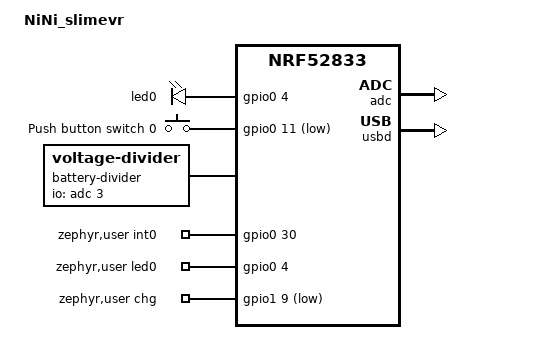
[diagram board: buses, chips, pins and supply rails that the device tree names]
// Copyright (c) 2024 Nordic Semiconductor ASA
// SPDX-License-Identifier: Apache-2.0

/dts-v1/;
#include <nordic/nrf52833_qdaa.dtsi>

//move to dtsi?

&pinctrl {
	spi3_default: spi3_default {
		group1 {
			psels = <NRF_PSEL(SPIM_MISO, 0, 29)>,
					<NRF_PSEL(SPIM_MOSI, 0, 28)>,
					<NRF_PSEL(SPIM_SCK, 0, 2)>;
		};
	};

	spi3_sleep: spi3_sleep {
		group1 {
			psels = <NRF_PSEL(SPIM_MISO, 0, 29)>,
					<NRF_PSEL(SPIM_MOSI, 0, 28)>,
					<NRF_PSEL(SPIM_SCK, 0, 2)>;
			low-power-enable;
		};
	};
};
//end

/ {
	model = "NiNi_slimevr";
	compatible = "NiNi_slimevr";

	chosen {
		zephyr,sram = &sram0;
		zephyr,flash = &flash0;
		zephyr,console = &cdc_acm_uart0;
		zephyr,shell-uart = &cdc_acm_uart0;
	};


	leds {
		compatible = "gpio-leds";
		led0: led_0 {
			gpios = <&gpio0 4 GPIO_OPEN_SOURCE>;
		};
	};

	buttons {
		compatible = "gpio-keys";
		button0: button_0 {
			gpios = <&gpio0 11 (GPIO_PULL_UP | GPIO_ACTIVE_LOW)>;
			label = "Push button switch 0";
		};
	};

	aliases {
		sw0 = &button0;
		led0 = &led0;
	};

	battery-divider {
		compatible = "voltage-divider";
		status = "okay";
		io-channels = <&adc 3>;
		output-ohms = <40200>;
		full-ohms = <(100000+40200)>;
	};

	zephyr,user {
		int0-gpios = <&gpio0 30 0>;
		led0-gpios = <&gpio0 4 GPIO_ACTIVE_HIGH>;
		chg-gpios = <&gpio1 9 (GPIO_ACTIVE_LOW | GPIO_PULL_UP)>;
	};
};


&reg1 {
	regulator-initial-mode = <NRF5X_REG_MODE_DCDC>;
};

&adc {
	status = "okay";
};

&gpiote {
	status = "okay";
};

&gpio0 {
	status = "okay";
};

&gpio1 {
	status = "okay";
};

zephyr_udc0: &usbd {
	compatible = "nordic,nrf-usbd";
	status = "okay";
	cdc_acm_uart0: cdc_acm_uart0 {
		compatible = "zephyr,cdc-acm-uart";
	};
};

&nfct {
	status = "disabled";
};

&spi2 {
	status = "enable";
	compatible = "nordic,nrf-spim";
	pinctrl-0 = <&spi2_default>;
	pinctrl-1 = <&spi2_sleep>;
	pinctrl-names = "default", "sleep";
	cs-gpios = <&gpio0 3 GPIO_ACTIVE_LOW>;

	imu_spi: imu@0 {
		compatible = "vnd,spi-device";
		spi-max-frequency = <DT_FREQ_M(24)>;
		label = "imu-spi";
		reg = <0>;
	};
};

